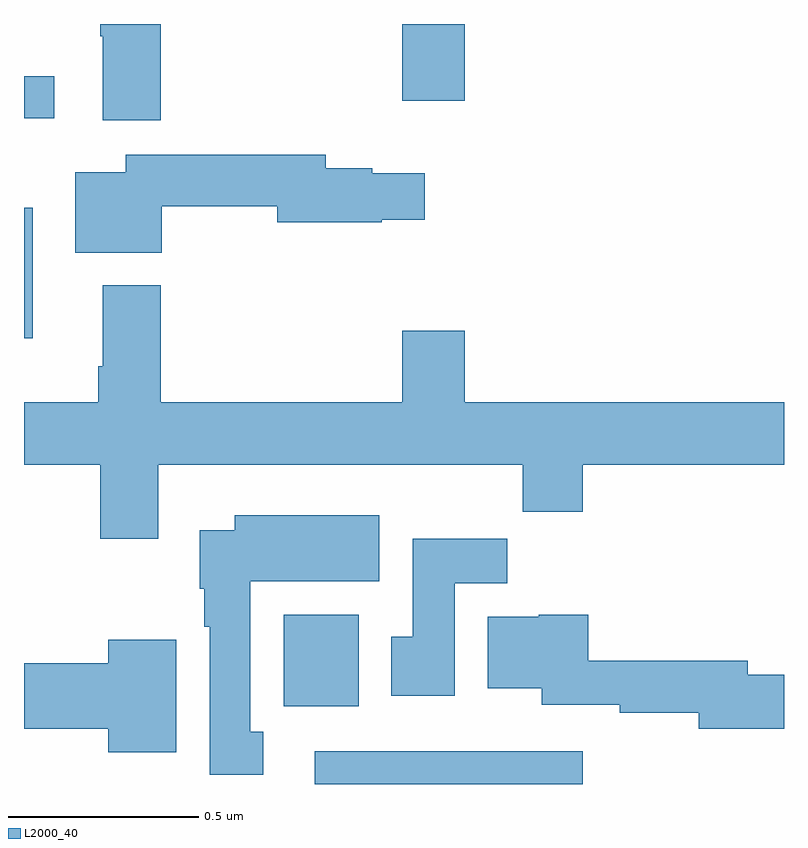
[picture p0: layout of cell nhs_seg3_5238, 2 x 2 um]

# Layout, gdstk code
import gdstk
lib = gdstk.Library(unit=1e-6, precision=1e-09)
def R(c, l, rs):  # rectangles x0, y0, x1, y1
    for r in rs: c.add(gdstk.rectangle(r[:2], r[2:], *l))
def P(c, l, *ps):  # polygons
    for p in ps: c.add(gdstk.Polygon(p, *l))
L2000_40 = (2000, 40)

nhs_seg3_5238 = lib.new_cell('nhs_seg3_5238')
R(nhs_seg3_5238, L2000_40, [(176.765,709.4,177.47,709.486), (176.684,709.604,176.881,709.846), (176,710.573,176.023,710.917), (176,711.152,176.08,711.262), (176.996,711.198,177.16,711.4)])
P(nhs_seg3_5238, L2000_40, [(176.36,711.4),(176.2,711.4),(176.2,711.368),(176.207,711.368),(176.207,711.147),(176.36,711.147)],
  [(176.362,710.92),(176.666,710.92),(176.666,710.878),(176.942,710.878),(176.942,710.885),(177.055,710.885),(177.055,711.007),(176.916,711.007),(176.916,711.02),(176.794,711.02),(176.794,711.056),(176.268,711.056),(176.268,711.01),(176.135,711.01),(176.135,710.798),(176.362,710.798)],
  [(176.353,710.24),(177.313,710.24),(177.313,710.116),(177.47,710.116),(177.47,710.24),(178,710.24),(178,710.404),(177.16,710.404),(177.16,710.593),(176.996,710.593),(176.996,710.404),(176.36,710.404),(176.36,710.713),(176.207,710.713),(176.207,710.5),(176.195,710.5),(176.195,710.404),(176,710.404),(176,710.24),(176.201,710.24),(176.201,710.046),(176.353,710.046)],
  [(176.629,709.538),(176.596,709.538),(176.596,709.934),(176.935,709.934),(176.935,710.107),(176.555,710.107),(176.555,710.068),(176.462,710.068),(176.462,709.914),(176.474,709.914),(176.474,709.814),(176.489,709.814),(176.489,709.425),(176.629,709.425)],
  [(177.133,709.928),(177.272,709.928),(177.272,710.046),(177.023,710.046),(177.023,709.788),(176.966,709.788),(176.966,709.632),(177.133,709.632)],
  [(178,709.688),(177.904,709.688),(177.904,709.724),(177.485,709.724),(177.485,709.846),(177.354,709.846),(177.354,709.84),(177.221,709.84),(177.221,709.652),(177.362,709.652),(177.362,709.608),(177.568,709.608),(177.568,709.588),(177.776,709.588),(177.776,709.546),(178,709.546)],
  [(176.401,709.78),(176.222,709.78),(176.222,709.718),(176,709.718),(176,709.546),(176.222,709.546),(176.222,709.484),(176.401,709.484)])

lib.write_gds('nhs_seg3_5238.gds')
